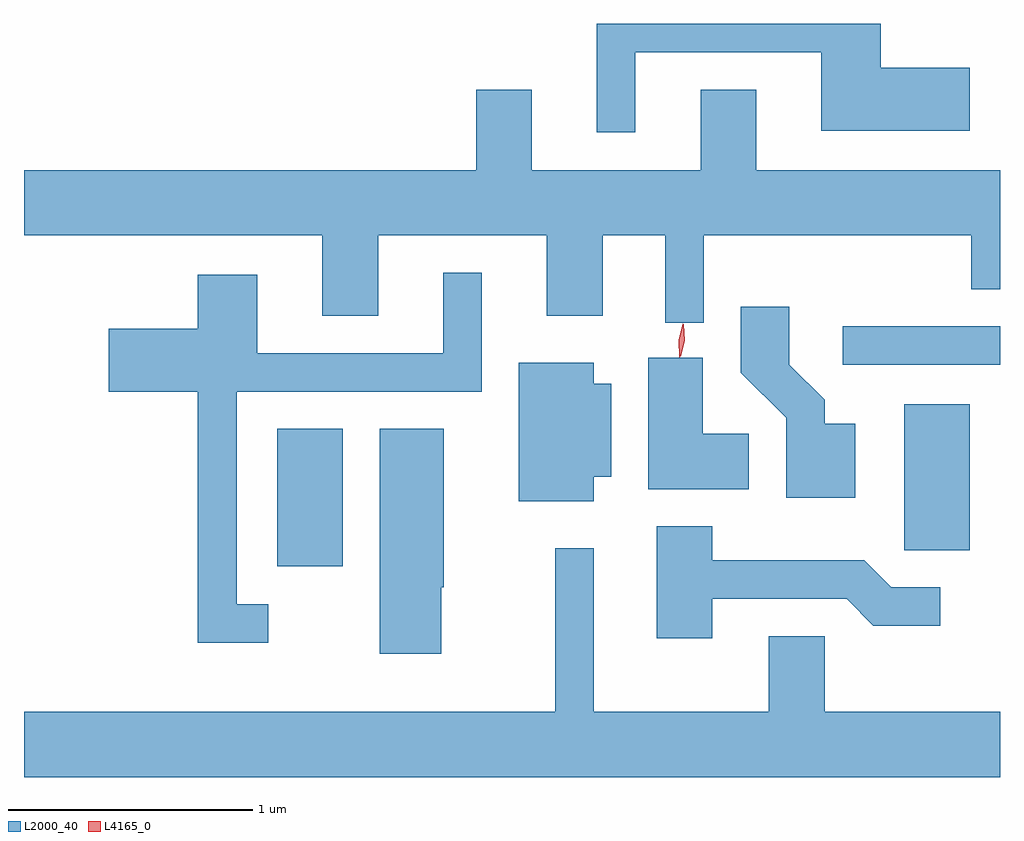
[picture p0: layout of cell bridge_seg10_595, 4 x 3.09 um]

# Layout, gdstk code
import gdstk
lib = gdstk.Library(unit=1e-6, precision=1e-09)
def R(c, l, rs):  # rectangles x0, y0, x1, y1
    for r in rs: c.add(gdstk.rectangle(r[:2], r[2:], *l))
def P(c, l, *ps):  # polygons
    for p in ps: c.add(gdstk.Polygon(p, *l))
L2000_40 = (2000, 40)
L4165_0 = (4165, 0)

bridge_seg10_595 = lib.new_cell('bridge_seg10_595')
R(bridge_seg10_595, L2000_40, [(676.636,2145.861,676.904,2146.424), (679.206,2145.926,679.474,2146.524), (678.953,2146.686,679.598,2146.844)])
P(bridge_seg10_595, L2000_40, [(678.104,2147.966),(678.866,2147.966),(678.866,2147.646),(679.474,2147.646),(679.474,2147.904),(679.109,2147.904),(679.109,2148.083),(677.946,2148.083),(677.946,2147.638),(678.104,2147.638)],
  [(678.384,2147.216),(679.481,2147.216),(679.481,2146.996),(679.598,2146.996),(679.598,2147.484),(678.599,2147.484),(678.599,2147.814),(678.371,2147.814),(678.371,2147.484),(677.679,2147.484),(677.679,2147.814),(677.451,2147.814),(677.451,2147.484),(675.598,2147.484),(675.598,2147.216),(676.821,2147.216),(676.821,2146.886),(677.049,2146.886),(677.049,2147.216),(677.741,2147.216),(677.741,2146.886),(677.969,2146.886),(677.969,2147.216),(678.226,2147.216),(678.226,2146.858),(678.384,2146.858)],
  [(676.598,2145.704),(676.469,2145.704),(676.469,2146.576),(677.474,2146.576),(677.474,2147.063),(677.316,2147.063),(677.316,2146.734),(676.554,2146.734),(676.554,2147.054),(676.311,2147.054),(676.311,2146.834),(675.946,2146.834),(675.946,2146.576),(676.311,2146.576),(676.311,2145.546),(676.598,2145.546)],
  [(679.004,2146.444),(678.879,2146.444),(678.879,2146.542),(678.734,2146.687),(678.734,2146.924),(678.536,2146.924),(678.536,2146.654),(678.721,2146.469),(678.721,2146.141),(679.004,2146.141)],
  [(678.569,2146.404),(678.379,2146.404),(678.379,2146.714),(678.156,2146.714),(678.156,2146.176),(678.569,2146.176)],
  [(677.934,2146.226),(678.004,2146.226),(678.004,2146.609),(677.934,2146.609),(677.934,2146.694),(677.626,2146.694),(677.626,2146.126),(677.934,2146.126)],
  [(677.309,2145.775),(677.319,2145.775),(677.319,2146.424),(677.056,2146.424),(677.056,2145.501),(677.309,2145.501)],
  [(678.419,2145.726),(678.969,2145.726),(679.079,2145.616),(679.353,2145.616),(679.353,2145.774),(679.152,2145.774),(679.042,2145.884),(678.419,2145.884),(678.419,2146.024),(678.191,2146.024),(678.191,2145.566),(678.419,2145.566)],
  [(679.598,2145.264),(678.879,2145.264),(678.879,2145.574),(678.651,2145.574),(678.651,2145.264),(677.934,2145.264),(677.934,2145.933),(677.776,2145.933),(677.776,2145.264),(675.598,2145.264),(675.598,2144.996),(679.598,2144.996)])
P(bridge_seg10_595, L4165_0, [(678.285,2146.716),(678.284,2146.717),(678.282,2146.786),(678.297,2146.854),(678.298,2146.855),(678.298,2146.854),(678.301,2146.785),(678.285,2146.717)],
  [(678.29,2146.719),(678.289,2146.72),(678.286,2146.786),(678.3,2146.851),(678.301,2146.851),(678.301,2146.851),(678.305,2146.784),(678.29,2146.72)])

lib.write_gds('bridge_seg10_595.gds')
